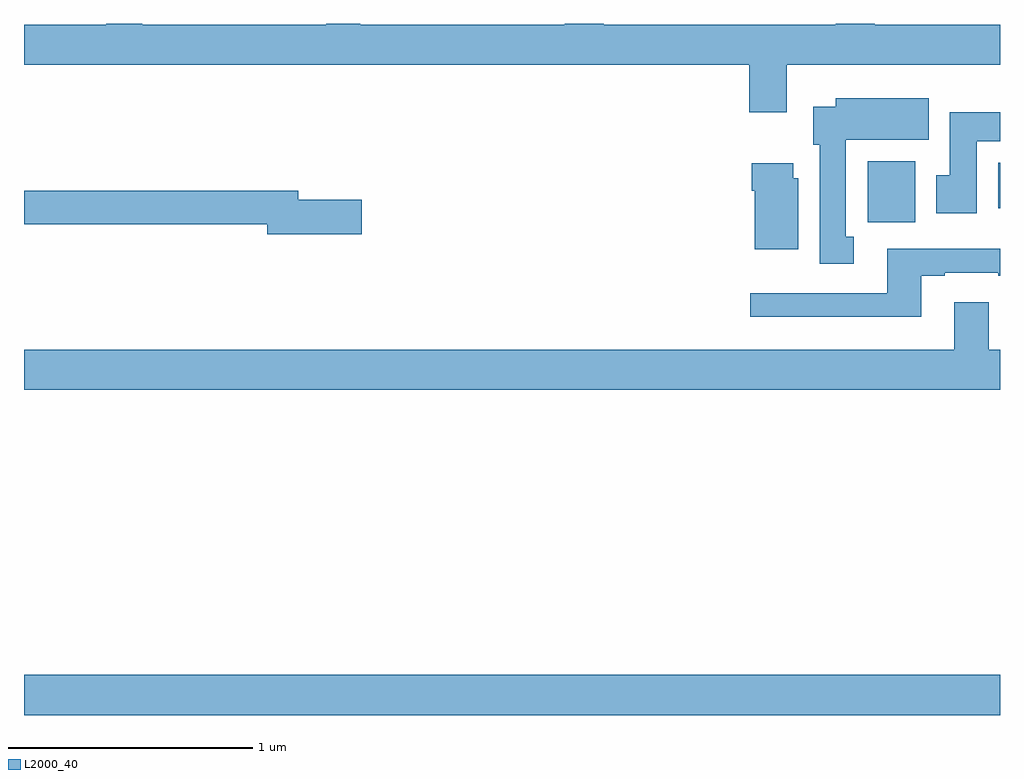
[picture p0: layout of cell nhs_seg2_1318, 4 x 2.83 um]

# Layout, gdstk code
import gdstk
lib = gdstk.Library(unit=1e-6, precision=1e-09)
def R(c, l, rs):  # rectangles x0, y0, x1, y1
    for r in rs: c.add(gdstk.rectangle(r[:2], r[2:], *l))
def P(c, l, *ps):  # polygons
    for p in ps: c.add(gdstk.Polygon(p, *l))
L2000_40 = (2000, 40)

nhs_seg2_1318 = lib.new_cell('nhs_seg2_1318')
R(nhs_seg2_1318, L2000_40, [(179,648.968,183,649.132), (182.457,650.988,182.653,651.238), (182.993,651.044,183,651.232)])
P(nhs_seg2_1318, L2000_40, [(182.125,651.632),(183,651.632),(183,651.796),(182.487,651.796),(182.487,651.8),(182.327,651.8),(182.327,651.796),(181.376,651.796),(181.376,651.8),(181.216,651.8),(181.216,651.796),(180.379,651.796),(180.379,651.8),(180.239,651.8),(180.239,651.796),(179.485,651.796),(179.485,651.8),(179.338,651.8),(179.338,651.796),(179,651.796),(179,651.632),(181.973,651.632),(181.973,651.438),(182.125,651.438)],
  [(182.401,650.929),(182.368,650.929),(182.368,651.326),(182.707,651.326),(182.707,651.496),(182.327,651.496),(182.327,651.46),(182.234,651.46),(182.234,651.306),(182.261,651.306),(182.261,650.817),(182.401,650.817)],
  [(182.905,651.32),(183,651.32),(183,651.438),(182.795,651.438),(182.795,651.18),(182.738,651.18),(182.738,651.024),(182.905,651.024)],
  [(182.173,651.168),(182.152,651.168),(182.152,651.229),(181.982,651.229),(181.982,651.116),(181.994,651.116),(181.994,650.876),(182.173,650.876)],
  [(180.385,651.08),(180.124,651.08),(180.124,651.116),(179,651.116),(179,650.98),(179.996,650.98),(179.996,650.938),(180.385,650.938)],
  [(182.677,650.769),(182.773,650.769),(182.773,650.781),(182.993,650.781),(182.993,650.769),(183,650.769),(183,650.878),(182.537,650.878),(182.537,650.697),(181.977,650.697),(181.977,650.6),(182.677,650.6)],
  [(183,650.464),(182.953,650.464),(182.953,650.659),(182.813,650.659),(182.813,650.464),(179,650.464),(179,650.3),(183,650.3)])

lib.write_gds('nhs_seg2_1318.gds')
